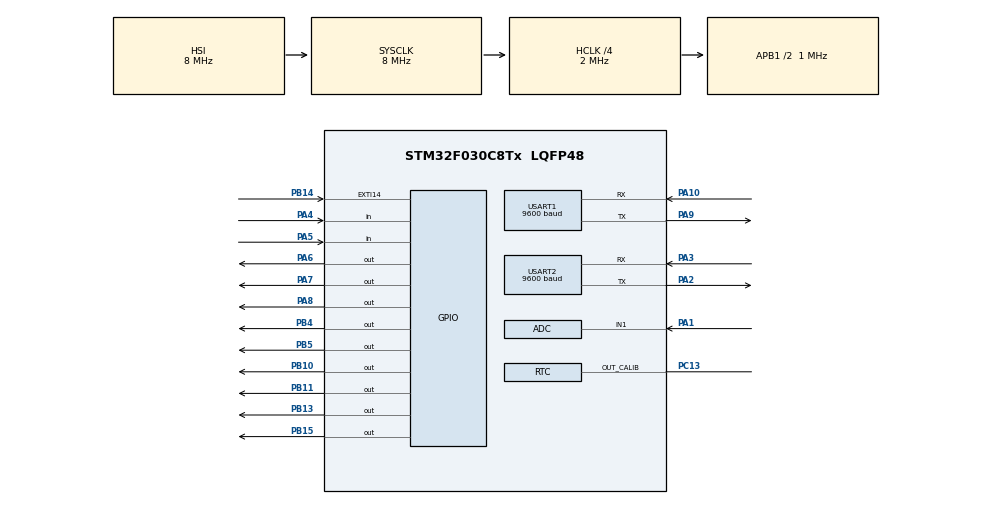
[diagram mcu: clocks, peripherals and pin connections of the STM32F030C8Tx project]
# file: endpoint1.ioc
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ADC.ClockPrescaler=ADC_CLOCK_ASYNC_DIV1
ADC.ContinuousConvMode=DISABLE
ADC.DMAContinuousRequests=DISABLE
ADC.DataAlign=ADC_DATAALIGN_RIGHT
ADC.DiscontinuousConvMode=DISABLE
ADC.EOCSelection=ADC_EOC_SINGLE_CONV
ADC.EnableAnalogWatchDog=false
ADC.ExternalTrigConv=ADC_SOFTWARE_START
ADC.ExternalTrigConvEdge=ADC_EXTERNALTRIGCONVEDGE_NONE
ADC.LowPowerAutoPowerOff=ENABLE
ADC.LowPowerAutoWait=DISABLE
ADC.Overrun=ADC_OVR_DATA_PRESERVED
ADC.Resolution=ADC_RESOLUTION_12B
ADC.SamplingTime=ADC_SAMPLETIME_28CYCLES_5
ADC.ScanConvMode=ADC_SCAN_DIRECTION_FORWARD
Mcu.Family=STM32F0
Mcu.Name=STM32F030C8Tx
Mcu.Package=LQFP48
NVIC.EXTI4_15_IRQn=true\:0\:0\:true\:false\:true\:true
NVIC.RTC_IRQn=true\:0\:0\:false\:false\:true\:true
NVIC.USART1_IRQn=true\:1\:0\:true\:false\:true\:true
NVIC.USART2_IRQn=true\:1\:0\:true\:false\:true\:true
PA1.Mode=IN1
PA1.Signal=ADC_IN1
PA10.Mode=Asynchronous
PA10.Signal=USART1_RX
PA13.Mode=Serial_Wire
PA13.Signal=SYS_SWDIO
PA14.Mode=Serial_Wire
PA14.Signal=SYS_SWCLK
PA2.GPIO_PuPd=GPIO_PULLUP
PA2.Mode=Asynchronous
PA2.Signal=USART2_TX
PA3.Mode=Asynchronous
PA3.Signal=USART2_RX
PA4.Signal=GPIO_Input
PA5.Signal=GPIO_Input
PA6.Signal=GPIO_Output
PA7.Signal=GPIO_Output
PA8.Signal=GPIO_Output
PA9.Mode=Asynchronous
PA9.Signal=USART1_TX
PB10.Signal=GPIO_Output
PB11.Signal=GPIO_Output
PB13.GPIO_ModeDefaultOutputPP=GPIO_MODE_OUTPUT_PP
PB13.GPIO_PuPd=GPIO_NOPULL
PB13.PinState=GPIO_PIN_SET
PB13.Signal=GPIO_Output
PB14.GPIO_ModeDefaultEXTI=GPIO_MODE_IT_FALLING
PB14.GPIO_PuPd=GPIO_NOPULL
PB14.Signal=GPXTI14
PB15.Signal=GPIO_Output
PB4.Signal=GPIO_Output
PB5.Signal=GPIO_Output
PC13.Mode=Calibration_1Hz
PC13.Signal=RTC_OUT_CALIB
ProjectManager.HeapSize=0x200
ProjectManager.StackSize=0x400
ProjectManager.TargetToolchain=EWARM V7
RCC.AHBCLKDivider=RCC_SYSCLK_DIV4
RCC.AHBFreq_Value=2000000
RCC.APB1CLKDivider=RCC_HCLK_DIV2
RCC.APB1Freq_Value=1000000
RCC.APB1TimFreq_Value=2000000
RCC.HCLKFreq_Value=2000000
RCC.PLLMUL=RCC_PLL_MUL4
RCC.SYSCLKFreq_VALUE=8000000
RTC.Alarm-Alarm\ A=RTC_ALARM_A
RTC.Format=RTC_FORMAT_BIN
USART1.BaudRate=9600
USART1.Parity=PARITY_NONE
USART1.VirtualMode-Asynchronous=VM_ASYNC
USART1.WordLength=WORDLENGTH_8B
USART2.BaudRate=9600
USART2.VirtualMode-Asynchronous=VM_ASYNC
VP_ADC_Vref_Input.Mode=IN-Vrefint
VP_RTC_VS_RTC_Activate.Mode=RTC_Enabled
VP_RTC_VS_RTC_Alarm_A_Intern.Mode=Alarm A
VP_RTC_VS_RTC_Calendar.Mode=RTC_Calendar
board=custom

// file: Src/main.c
/**
  ******************************************************************************
  * @file           : main.c
  * @brief          : Main program body
  ******************************************************************************
  ** This notice applies to any and all portions of this file
  * that are not between comment pairs USER CODE BEGIN and
  * USER CODE END. Other portions of this file, whether
  * inserted by the user or by software development tools
  * are owned by their respective copyright owners.
  *
  * COPYRIGHT(c) 2019 STMicroelectronics
  *
  * Redistribution and use in source and binary forms, with or without modification,
  * are permitted provided that the following conditions are met:
  *   1. Redistributions of source code must retain the above copyright notice,
  *      this list of conditions and the following disclaimer.
  *   2. Redistributions in binary form must reproduce the above copyright notice,
  *      this list of conditions and the following disclaimer in the documentation
  *      and/or other materials provided with the distribution.
  *   3. Neither the name of STMicroelectronics nor the names of its contributors
  *      may be used to endorse or promote products derived from this software
  *      without specific prior written permission.
  *
  * THIS SOFTWARE IS PROVIDED BY THE COPYRIGHT HOLDERS AND CONTRIBUTORS "AS IS"
  * AND ANY EXPRESS OR IMPLIED WARRANTIES, INCLUDING, BUT NOT LIMITED TO, THE
  * IMPLIED WARRANTIES OF MERCHANTABILITY AND FITNESS FOR A PARTICULAR PURPOSE ARE
  * DISCLAIMED. IN NO EVENT SHALL THE COPYRIGHT HOLDER OR CONTRIBUTORS BE LIABLE
  * FOR ANY DIRECT, INDIRECT, INCIDENTAL, SPECIAL, EXEMPLARY, OR CONSEQUENTIAL
  * DAMAGES (INCLUDING, BUT NOT LIMITED TO, PROCUREMENT OF SUBSTITUTE GOODS OR
  * SERVICES; LOSS OF USE, DATA, OR PROFITS; OR BUSINESS INTERRUPTION) HOWEVER
  * CAUSED AND ON ANY THEORY OF LIABILITY, WHETHER IN CONTRACT, STRICT LIABILITY,
  * OR TORT (INCLUDING NEGLIGENCE OR OTHERWISE) ARISING IN ANY WAY OUT OF THE USE
  * OF THIS SOFTWARE, EVEN IF ADVISED OF THE POSSIBILITY OF SUCH DAMAGE.
  *
  ******************************************************************************
  */
#include "main.h"
#include "stm32f0xx_hal.h"

/* USER CODE BEGIN Includes */
#include "stdlib.h"
#include <string.h>
#include "Lora.h"
#include "beep.h"
#include "motor.h"
#include "hardware.h"
#include "crc16.h"
#include "lowpower.h"
#include "rtc.h"
#include "lora_datapool.h"
#include "flash.h"
#include "ultra.h"
#include "user_config.h"
/* USER CODE END Includes */

ADC_HandleTypeDef hadc;

IWDG_HandleTypeDef hiwdg;

RTC_HandleTypeDef hrtc;

UART_HandleTypeDef huart1;
UART_HandleTypeDef huart2;

/* USER CODE BEGIN PV */
/* Private variables ---------------------------------------------------------*/
Device gDevice;
Motor gMotor;
LoraPacket gLoraPacket;

/* USER CODE END PV */

void SystemClock_Config(void);
static void MX_GPIO_Init(void);
static void MX_ADC_Init(void);
static void MX_RTC_Init(void);
static void MX_USART1_UART_Init(void);
static void MX_USART2_UART_Init(void);
static void MX_IWDG_Init(void);

/* USER CODE BEGIN PFP */
/* Private function prototypes -----------------------------------------------*/

/* USER CODE END PFP */

int main(void)
{
  /* USER CODE BEGIN 1 */
  uint16_t u16Distance = 0; //flash双字节操作，所以设置u16而不是u8
  uint16_t u16Timeinterval = 0; //同上
  uint16_t u16ServerID = 0;
  uint16_t u16LocalID = 0;
  bool bIsMotorAction = false;
  uint8_t u8SendCH = 0;
  uint8_t u8RecvCH = 0;
  /* USER CODE END 1 */

  /* MCU Configuration----------------------------------------------------------*/

  /* Reset of all peripherals, Initializes the Flash interface and the Systick. */
  HAL_Init();

  /* Configure the system clock */
  SystemClock_Config();

  /* Initialize all configured peripherals */
  MX_GPIO_Init();
  MX_ADC_Init();
  MX_RTC_Init();
  MX_USART1_UART_Init();
  MX_USART2_UART_Init();
  MX_IWDG_Init();
  /* USER CODE BEGIN 2 */
  //先关闭中断，不然位置检测模块上电后会导致触发一次异常动作
  HAL_NVIC_DisableIRQ(EXTI4_15_IRQn);
  MotorInit();
  //低功耗模式下调试延时，如果不加很难再次刷程序
  HAL_Delay(3000);
  //一定要再次打开中断，否则gpio的所有中断都被关闭了
  HAL_NVIC_EnableIRQ(EXTI4_15_IRQn);

  LoraModuleInit();

  if (FLASH_Init(&u16ServerID, &u16LocalID, &u8SendCH, &u8RecvCH, &u16Distance, &u16Timeinterval) == false) {
    return -1;
  }

//#define _TEST_

#ifdef _TEST_
  gLoraPacket.paramter.u8AddrH = 0;
  gLoraPacket.paramter.u8AddrL = 8;
  gLoraPacket.paramter.u8Channel = 27;
  gLoraPacket.paramter.sParaOne.u8Baud = BAUD_57600;
  u16ServerID = 4096;
  u8SendCH = 28;
#else
  gLoraPacket.paramter.u8AddrH = u16LocalID / 0xff;
  gLoraPacket.paramter.u8AddrL = u16LocalID % 0xff;
  gLoraPacket.paramter.u8Channel = (u16LocalID % LORA_MAX_CHANNEL);
  gLoraPacket.paramter.sParaOne.u8Baud = BAUD_57600;
#endif

  gLoraPacket.paramter.saveType = SAVE_IN_FLASH;
  gLoraPacket.paramter.sParaOne.u8Parity = PARITY_8O1;
  gLoraPacket.paramter.sParaOne.u8Speedinair = SPEED_IN_AIR_19_2K;
  gLoraPacket.paramter.sParaTwo.u8FEC = FEC_ENABLE;
  gLoraPacket.paramter.sParaTwo.u8IOMode = IOMODE_PP;
  gLoraPacket.paramter.sParaTwo.u8SendDB = SEND_20DB;
  gLoraPacket.paramter.sParaTwo.u8TranferMode = TRANSFER_MODE_DINGDIAN;
  gLoraPacket.paramter.sParaTwo.u8WakeUpTime = WAKEUP_TIME_500MS;
  LoraWriteParamter();

  //读取完参数之后lora设置为低功耗模式
  LoraReadParamter();

  SetServer(u16ServerID, u8SendCH);

  beep_ctrl(BEEP_ON);
  HAL_Delay(100);
  beep_ctrl(BEEP_OFF);
  HAL_Delay(100);
  beep_ctrl(BEEP_ON);
  HAL_Delay(100);
  beep_ctrl(BEEP_OFF);
  HAL_Delay(100);

  //因为在CloseNotUsedPeriphClock中关闭了HSI时钟，
  //所以在它之前需要调用一下Uart1的关闭方法
  LoraUartDisable();
  UltraUartDisable();

  CloseNotUsedPeriphClock();
  //这个位置有疑问，放在上面rtc的第一次定时就会有问题
  memset(&gDevice, 0, sizeof(gDevice));
  gDevice.u8UltraSafeDistance = (uint8_t)u16Distance;
  gDevice.u8UltraCheckTimeinterval = (uint8_t)u16Timeinterval;
  /* USER CODE END 2 */

  /* Infinite loop */
  while (1)
  {

  /* USER CODE BEGIN 3 */
    //清空获取过地锁位置的标志
    HAL_IWDG_Refresh(&hiwdg);

    resetMotorStatus();
    bIsMotorAction = false;
    EnterLowPower();
    //等待接收数据完成
    while(!LoraModuleIsIdle()){
      HAL_Delay(1);
    }
    rtcCounter();

    if ((gDevice.u8Cmd == HW_MOTOR_UP) || (gDevice.u8Cmd == HW_MOTOR_DOWN))
      bIsMotorAction = true;

    //调用数据处理,数据在中断内已经处理了
    //判断系统唤醒类型，分别是adc中断唤醒，电机检测引脚中断唤醿
    //和aux引脚中断唤醒
    if (gDevice.bHasLoraInter) {
      gDevice.bHasLoraInter = false;
      ExecCMD(&gDevice);
      if (gDevice.u8ReCmdNumberInter != 0) {
        LoraSendReCmd();
      }
    }

    if (gDevice.bHasRtcInter) {
      gDevice.bHasRtcInter = false;
      SyncCMDDone(&gDevice);  //电机运动被阻挡没能运动到指定位置时执行
    }

    if (gDevice.bHasMotorNormalInter) {
      //电机运动到指定位置
      gDevice.bHasMotorNormalInter = false;
      SyncCMDDone(&gDevice);
      //电机在前倾时需要先落下，再重新抬起
      if (CMD_EXEC_DOING == gDevice.u8CmdDone) {
        ExecCMD(&gDevice);
      }
    }

#if 1
    // 如果检查到异常则不再处理心跳、超声定时上报
    if ( false == MotorAbnormalCheck(&gDevice, bIsMotorAction)) {
      MOTOR_STATUS mStatus = getMotorStatus();
      if ( MOTOR_DOWN == mStatus) {
#ifdef _TEST_
        doCheckUltraByTimer(5);
#else
        doCheckUltraByTimer(gDevice.u8UltraCheckTimeinterval);
#endif
      } //end of  "MOTOR_DOWN == getMotorStatus()"
      else {
#ifdef _TEST_
        doHeartByTimer(5, mStatus);
#else
        doHeartByTimer(SYSTEM_HEARTBEAT_CYC, mStatus);
#endif
      }
    }// end of "false == MotorAbnormalCheck(&gDevice)"
#endif
  }
  /* USER CODE END 3 */

}

void SystemClock_Config(void)
{

  RCC_OscInitTypeDef RCC_OscInitStruct;
  RCC_ClkInitTypeDef RCC_ClkInitStruct;
  RCC_PeriphCLKInitTypeDef PeriphClkInit;

    /**Initializes the CPU, AHB and APB busses clocks
    */
  RCC_OscInitStruct.OscillatorType = RCC_OSCILLATORTYPE_HSI|RCC_OSCILLATORTYPE_HSI14
                              |RCC_OSCILLATORTYPE_LSI;
  RCC_OscInitStruct.HSIState = RCC_HSI_ON;
  RCC_OscInitStruct.HSI14State = RCC_HSI14_ON;
  RCC_OscInitStruct.HSICalibrationValue = 16;
  RCC_OscInitStruct.HSI14CalibrationValue = 16;
  RCC_OscInitStruct.LSIState = RCC_LSI_ON;
  RCC_OscInitStruct.PLL.PLLState = RCC_PLL_NONE;
  if (HAL_RCC_OscConfig(&RCC_OscInitStruct) != HAL_OK)
  {
    _Error_Handler(__FILE__, __LINE__);
  }

    /**Initializes the CPU, AHB and APB busses clocks
    */
  RCC_ClkInitStruct.ClockType = RCC_CLOCKTYPE_HCLK|RCC_CLOCKTYPE_SYSCLK
                              |RCC_CLOCKTYPE_PCLK1;
  RCC_ClkInitStruct.SYSCLKSource = RCC_SYSCLKSOURCE_HSI;
  RCC_ClkInitStruct.AHBCLKDivider = RCC_SYSCLK_DIV4;
  RCC_ClkInitStruct.APB1CLKDivider = RCC_HCLK_DIV2;

  if (HAL_RCC_ClockConfig(&RCC_ClkInitStruct, FLASH_LATENCY_0) != HAL_OK)
  {
    _Error_Handler(__FILE__, __LINE__);
  }

  PeriphClkInit.PeriphClockSelection = RCC_PERIPHCLK_USART1|RCC_PERIPHCLK_RTC;
  PeriphClkInit.Usart1ClockSelection = RCC_USART1CLKSOURCE_PCLK1;
  PeriphClkInit.RTCClockSelection = RCC_RTCCLKSOURCE_LSI;
  if (HAL_RCCEx_PeriphCLKConfig(&PeriphClkInit) != HAL_OK)
  {
    _Error_Handler(__FILE__, __LINE__);
  }

    /**Configure the Systick interrupt time
    */
  HAL_SYSTICK_Config(HAL_RCC_GetHCLKFreq()/1000);

    /**Configure the Systick
    */
  HAL_SYSTICK_CLKSourceConfig(SYSTICK_CLKSOURCE_HCLK);

  /* SysTick_IRQn interrupt configuration */
  HAL_NVIC_SetPriority(SysTick_IRQn, 0, 0);
}

/* ADC init function */
static void MX_ADC_Init(void)
{

  ADC_ChannelConfTypeDef sConfig;

    /**Configure the global features of the ADC (Clock, Resolution, Data Alignment and number of conversion)
    */
  hadc.Instance = ADC1;
  hadc.Init.ClockPrescaler = ADC_CLOCK_ASYNC_DIV1;
  hadc.Init.Resolution = ADC_RESOLUTION_12B;
  hadc.Init.DataAlign = ADC_DATAALIGN_RIGHT;
  hadc.Init.ScanConvMode = ADC_SCAN_DIRECTION_FORWARD;
  hadc.Init.EOCSelection = ADC_EOC_SINGLE_CONV;
  hadc.Init.LowPowerAutoWait = DISABLE;
  hadc.Init.LowPowerAutoPowerOff = ENABLE;
  hadc.Init.ContinuousConvMode = DISABLE;
  hadc.Init.DiscontinuousConvMode = DISABLE;
  hadc.Init.ExternalTrigConv = ADC_SOFTWARE_START;
  hadc.Init.ExternalTrigConvEdge = ADC_EXTERNALTRIGCONVEDGE_NONE;
  hadc.Init.DMAContinuousRequests = DISABLE;
  hadc.Init.Overrun = ADC_OVR_DATA_PRESERVED;
  if (HAL_ADC_Init(&hadc) != HAL_OK)
  {
    _Error_Handler(__FILE__, __LINE__);
  }

    /**Configure for the selected ADC regular channel to be converted.
    */
  sConfig.Channel = ADC_CHANNEL_1;
  sConfig.Rank = ADC_RANK_CHANNEL_NUMBER;
  sConfig.SamplingTime = ADC_SAMPLETIME_28CYCLES_5;
  if (HAL_ADC_ConfigChannel(&hadc, &sConfig) != HAL_OK)
  {
    _Error_Handler(__FILE__, __LINE__);
  }

    /**Configure for the selected ADC regular channel to be converted.
    */
  sConfig.Channel = ADC_CHANNEL_VREFINT;
  if (HAL_ADC_ConfigChannel(&hadc, &sConfig) != HAL_OK)
  {
    _Error_Handler(__FILE__, __LINE__);
  }

}

/* IWDG init function */
static void MX_IWDG_Init(void)
{

  hiwdg.Instance = IWDG;
  hiwdg.Init.Prescaler = IWDG_PRESCALER_128;
  hiwdg.Init.Window = 3125;
  hiwdg.Init.Reload = 3125;
  if (HAL_IWDG_Init(&hiwdg) != HAL_OK)
  {
    _Error_Handler(__FILE__, __LINE__);
  }

}

/* RTC init function */
static void MX_RTC_Init(void)
{

  RTC_TimeTypeDef sTime;
  RTC_DateTypeDef sDate;
  RTC_AlarmTypeDef sAlarm;

    /**Initialize RTC Only
    */
  hrtc.Instance = RTC;
  hrtc.Init.HourFormat = RTC_HOURFORMAT_24;
  hrtc.Init.AsynchPrediv = 20;
  hrtc.Init.SynchPrediv = 2000;
  hrtc.Init.OutPut = RTC_OUTPUT_DISABLE;
  hrtc.Init.OutPutPolarity = RTC_OUTPUT_POLARITY_HIGH;
  hrtc.Init.OutPutType = RTC_OUTPUT_TYPE_OPENDRAIN;
  if (HAL_RTC_Init(&hrtc) != HAL_OK)
  {
    _Error_Handler(__FILE__, __LINE__);
  }

    /**Initialize RTC and set the Time and Date
    */
  sTime.Hours = 0;
  sTime.Minutes = 0;
  sTime.Seconds = 0;
  sTime.DayLightSaving = RTC_DAYLIGHTSAVING_NONE;
  sTime.StoreOperation = RTC_STOREOPERATION_RESET;
  if (HAL_RTC_SetTime(&hrtc, &sTime, RTC_FORMAT_BIN) != HAL_OK)
  {
    _Error_Handler(__FILE__, __LINE__);
  }

  sDate.WeekDay = RTC_WEEKDAY_MONDAY;
  sDate.Month = RTC_MONTH_JANUARY;
  sDate.Date = 1;
  sDate.Year = 0;

  if (HAL_RTC_SetDate(&hrtc, &sDate, RTC_FORMAT_BIN) != HAL_OK)
  {
    _Error_Handler(__FILE__, __LINE__);
  }

    /**Enable the Alarm A
    */
  sAlarm.AlarmTime.Hours = 0;
  sAlarm.AlarmTime.Minutes = 0;
  sAlarm.AlarmTime.Seconds = 0;
  sAlarm.AlarmTime.SubSeconds = 0;
  sAlarm.AlarmTime.DayLightSaving = RTC_DAYLIGHTSAVING_NONE;
  sAlarm.AlarmTime.StoreOperation = RTC_STOREOPERATION_RESET;
  sAlarm.AlarmMask = RTC_ALARMMASK_NONE;
  sAlarm.AlarmSubSecondMask = RTC_ALARMSUBSECONDMASK_ALL;
  sAlarm.AlarmDateWeekDaySel = RTC_ALARMDATEWEEKDAYSEL_DATE;
  sAlarm.AlarmDateWeekDay = 1;
  sAlarm.Alarm = RTC_ALARM_A;
  if (HAL_RTC_SetAlarm_IT(&hrtc, &sAlarm, RTC_FORMAT_BIN) != HAL_OK)
  {
    _Error_Handler(__FILE__, __LINE__);
  }

    /**Enable Calibration
    */
  if (HAL_RTCEx_SetCalibrationOutPut(&hrtc, RTC_CALIBOUTPUT_1HZ) != HAL_OK)
  {
    _Error_Handler(__FILE__, __LINE__);
  }

}

/* USART1 init function */
static void MX_USART1_UART_Init(void)
{

  huart1.Instance = USART1;
  huart1.Init.BaudRate = 9600;
  huart1.Init.WordLength = UART_WORDLENGTH_8B;
  huart1.Init.StopBits = UART_STOPBITS_1;
  huart1.Init.Parity = UART_PARITY_NONE;
  huart1.Init.Mode = UART_MODE_TX_RX;
  huart1.Init.HwFlowCtl = UART_HWCONTROL_NONE;
  huart1.Init.OverSampling = UART_OVERSAMPLING_16;
  huart1.Init.OneBitSampling = UART_ONE_BIT_SAMPLE_DISABLE;
  huart1.AdvancedInit.AdvFeatureInit = UART_ADVFEATURE_NO_INIT;
  if (HAL_UART_Init(&huart1) != HAL_OK)
  {
    _Error_Handler(__FILE__, __LINE__);
  }

}

/* USART2 init function */
static void MX_USART2_UART_Init(void)
{

  huart2.Instance = USART2;
  huart2.Init.BaudRate = 9600;
  huart2.Init.WordLength = UART_WORDLENGTH_8B;
  huart2.Init.StopBits = UART_STOPBITS_1;
  huart2.Init.Parity = UART_PARITY_NONE;
  huart2.Init.Mode = UART_MODE_RX;
  huart2.Init.HwFlowCtl = UART_HWCONTROL_NONE;
  huart2.Init.OverSampling = UART_OVERSAMPLING_16;
  huart2.Init.OneBitSampling = UART_ONE_BIT_SAMPLE_DISABLE;
  huart2.AdvancedInit.AdvFeatureInit = UART_ADVFEATURE_NO_INIT;
  if (HAL_UART_Init(&huart2) != HAL_OK)
  {
    _Error_Handler(__FILE__, __LINE__);
  }

}

/** Configure pins as
        * Analog
        * Input
        * Output
        * EVENT_OUT
        * EXTI
        * Free pins are configured automatically as Analog (this feature is enabled through
        * the Code Generation settings)
*/
static void MX_GPIO_Init(void)
{

  GPIO_InitTypeDef GPIO_InitStruct;

  /* GPIO Ports Clock Enable */
  __HAL_RCC_GPIOC_CLK_ENABLE();
  __HAL_RCC_GPIOF_CLK_ENABLE();
  __HAL_RCC_GPIOA_CLK_ENABLE();
  __HAL_RCC_GPIOB_CLK_ENABLE();

  /*Configure GPIO pin Output Level */
  HAL_GPIO_WritePin(GPIOA, GPIO_PIN_6|GPIO_PIN_7|GPIO_PIN_8, GPIO_PIN_RESET);

  /*Configure GPIO pin Output Level */
  HAL_GPIO_WritePin(GPIOB, GPIO_PIN_10|GPIO_PIN_15|GPIO_PIN_4|GPIO_PIN_5, GPIO_PIN_RESET);

  /*Configure GPIO pin Output Level */
  HAL_GPIO_WritePin(GPIOB, GPIO_PIN_13, GPIO_PIN_SET);

  /*Configure GPIO pins : PC14 PC15 */
  GPIO_InitStruct.Pin = GPIO_PIN_14|GPIO_PIN_15;
  GPIO_InitStruct.Mode = GPIO_MODE_ANALOG;
  GPIO_InitStruct.Pull = GPIO_NOPULL;
  HAL_GPIO_Init(GPIOC, &GPIO_InitStruct);

  /*Configure GPIO pins : PF0 PF1 PF6 PF7 */
  GPIO_InitStruct.Pin = GPIO_PIN_0|GPIO_PIN_1|GPIO_PIN_6|GPIO_PIN_7;
  GPIO_InitStruct.Mode = GPIO_MODE_ANALOG;
  GPIO_InitStruct.Pull = GPIO_NOPULL;
  HAL_GPIO_Init(GPIOF, &GPIO_InitStruct);

  /*Configure GPIO pins : PA0 PA11 PA12 PA15 */
  GPIO_InitStruct.Pin = GPIO_PIN_0|GPIO_PIN_11|GPIO_PIN_12|GPIO_PIN_15;
  GPIO_InitStruct.Mode = GPIO_MODE_ANALOG;
  GPIO_InitStruct.Pull = GPIO_NOPULL;
  HAL_GPIO_Init(GPIOA, &GPIO_InitStruct);

  /*Configure GPIO pins : PA4 PA5 */
  GPIO_InitStruct.Pin = GPIO_PIN_4|GPIO_PIN_5;
  GPIO_InitStruct.Mode = GPIO_MODE_INPUT;
  GPIO_InitStruct.Pull = GPIO_NOPULL;
  HAL_GPIO_Init(GPIOA, &GPIO_InitStruct);

  /*Configure GPIO pins : PA6 PA7 PA8 */
  GPIO_InitStruct.Pin = GPIO_PIN_6|GPIO_PIN_7|GPIO_PIN_8;
  GPIO_InitStruct.Mode = GPIO_MODE_OUTPUT_PP;
  GPIO_InitStruct.Pull = GPIO_NOPULL;
  GPIO_InitStruct.Speed = GPIO_SPEED_FREQ_LOW;
  HAL_GPIO_Init(GPIOA, &GPIO_InitStruct);

  /*Configure GPIO pins : PB0 PB1 PB2 PB11
                           PB12 PB3 PB6 PB7
                           PB8 PB9 */
  GPIO_InitStruct.Pin = GPIO_PIN_0|GPIO_PIN_1|GPIO_PIN_2|GPIO_PIN_11
                          |GPIO_PIN_12|GPIO_PIN_3|GPIO_PIN_6|GPIO_PIN_7
                          |GPIO_PIN_8|GPIO_PIN_9;
  GPIO_InitStruct.Mode = GPIO_MODE_ANALOG;
  GPIO_InitStruct.Pull = GPIO_NOPULL;
  HAL_GPIO_Init(GPIOB, &GPIO_InitStruct);

  /*Configure GPIO pins : PB10 PB13 PB15 PB4
                           PB5 */
  GPIO_InitStruct.Pin = GPIO_PIN_10|GPIO_PIN_13|GPIO_PIN_15|GPIO_PIN_4
                          |GPIO_PIN_5;
  GPIO_InitStruct.Mode = GPIO_MODE_OUTPUT_PP;
  GPIO_InitStruct.Pull = GPIO_NOPULL;
  GPIO_InitStruct.Speed = GPIO_SPEED_FREQ_LOW;
  HAL_GPIO_Init(GPIOB, &GPIO_InitStruct);

  /*Configure GPIO pin : PB14 */
  GPIO_InitStruct.Pin = GPIO_PIN_14;
  GPIO_InitStruct.Mode = GPIO_MODE_IT_FALLING;
  GPIO_InitStruct.Pull = GPIO_NOPULL;
  HAL_GPIO_Init(GPIOB, &GPIO_InitStruct);

  /* EXTI interrupt init*/
  HAL_NVIC_SetPriority(EXTI4_15_IRQn, 0, 0);
  HAL_NVIC_EnableIRQ(EXTI4_15_IRQn);

}

void _Error_Handler(char *file, int line)
{
  while(1)
  {
  }
}

/************************ (C) COPYRIGHT STMicroelectronics *****END OF FILE****/
